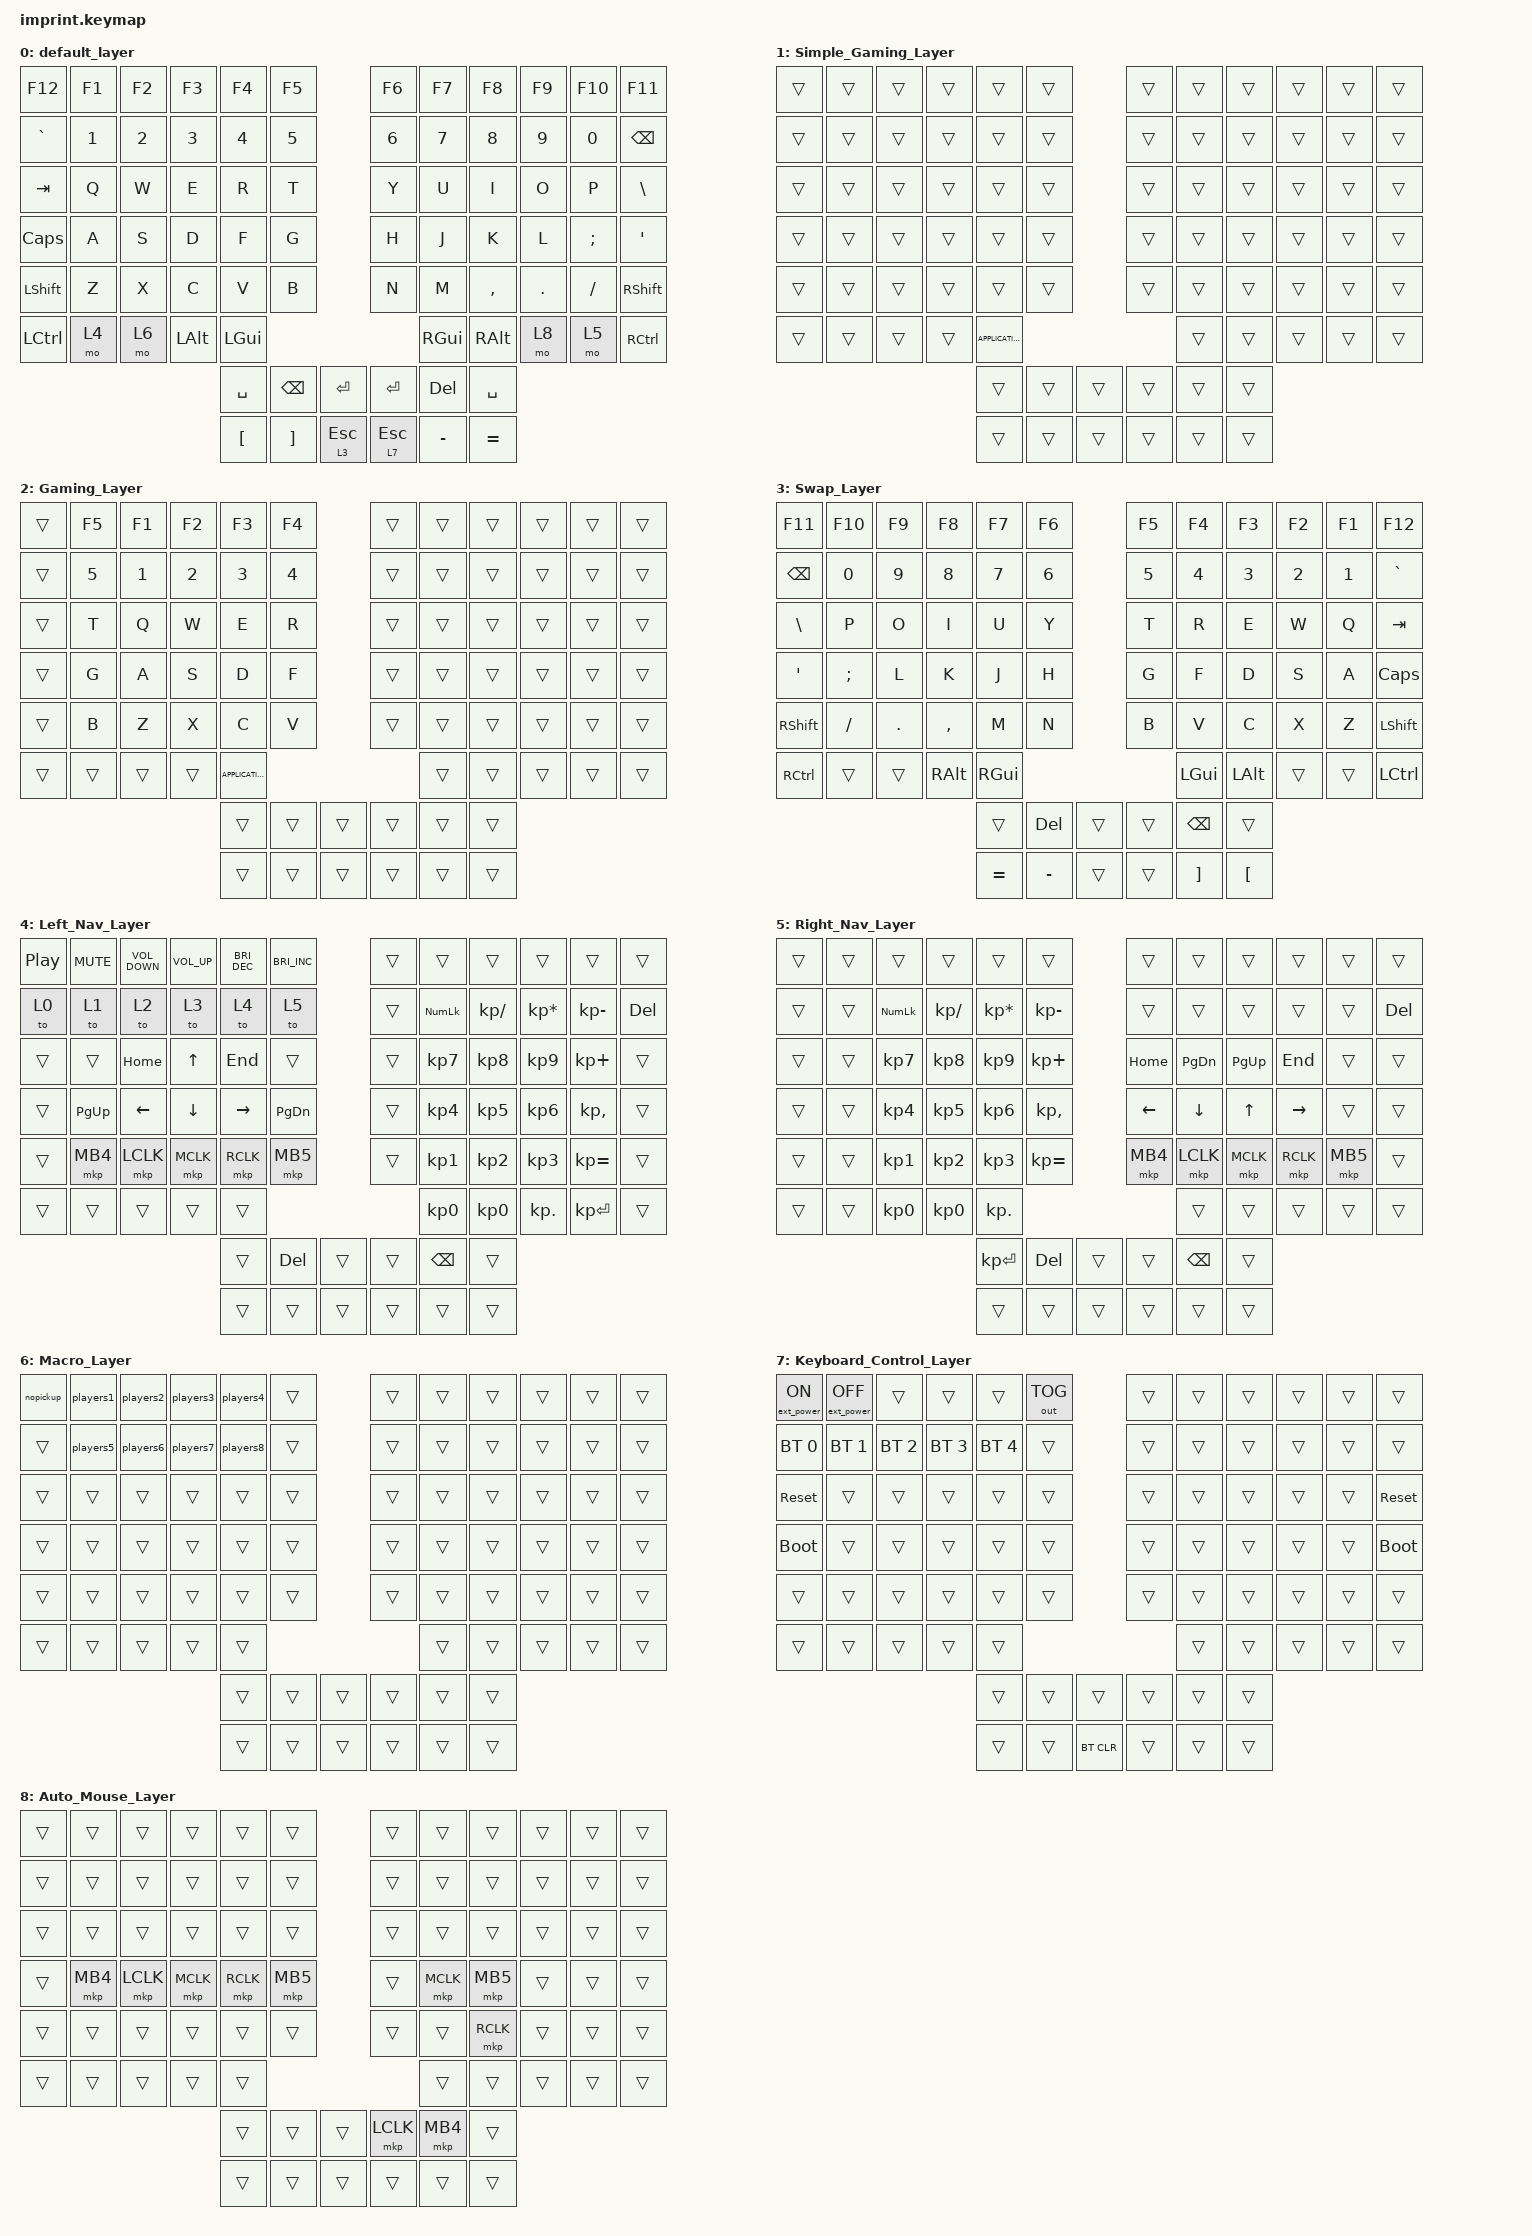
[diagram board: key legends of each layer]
#include <input/processors.dtsi>
#include <dt-bindings/zmk/input_transform.h>
#include <behaviors.dtsi>
#include <dt-bindings/zmk/bt.h>
#include <dt-bindings/zmk/ext_power.h>
#include <dt-bindings/zmk/keys.h>
#include <dt-bindings/zmk/outputs.h>
#include <dt-bindings/zmk/pointing.h>

/ {
    chosen { zmk,physical-layout = &physical_layout_imprint_function_row_full_bottom_row; };

    macros {
        players: players {
            compatible = "zmk,behavior-macro";
            #binding-cells = <0>;
            bindings =
                <&kp ENTER>,
                <&macro_wait_time 5>,
                <&kp FSLH &kp P &kp L &kp A &kp Y &kp E &kp R &kp S>;

            label = "PLAYERS";
            tap-ms = <10>;
        };

        players1: players1 {
            compatible = "zmk,behavior-macro";
            #binding-cells = <0>;
            bindings = <&players &kp N1 &kp ENTER>;
            label = "PLAYERS1";
            wait-ms = <100>;
            tap-ms = <100>;
        };

        players2: players2 {
            compatible = "zmk,behavior-macro";
            #binding-cells = <0>;
            bindings = <&players &kp N2 &kp ENTER>;
            label = "PLAYERS2";
            wait-ms = <100>;
            tap-ms = <100>;
        };

        players3: players3 {
            compatible = "zmk,behavior-macro";
            #binding-cells = <0>;
            bindings = <&players &kp N3 &kp ENTER>;
            label = "PLAYERS3";
            wait-ms = <100>;
            tap-ms = <100>;
        };

        players4: players4 {
            compatible = "zmk,behavior-macro";
            #binding-cells = <0>;
            bindings = <&players &kp N4 &kp ENTER>;
            label = "PLAYERS4";
            wait-ms = <100>;
            tap-ms = <100>;
        };

        players5: players5 {
            compatible = "zmk,behavior-macro";
            #binding-cells = <0>;
            bindings = <&players &kp N5 &kp ENTER>;
            label = "PLAYERS5";
            wait-ms = <100>;
            tap-ms = <100>;
        };

        players6: players6 {
            compatible = "zmk,behavior-macro";
            #binding-cells = <0>;
            bindings = <&players &kp N6 &kp ENTER>;
            label = "PLAYERS6";
            wait-ms = <100>;
            tap-ms = <100>;
        };

        players7: players7 {
            compatible = "zmk,behavior-macro";
            #binding-cells = <0>;
            bindings = <&players &kp N7 &kp ENTER>;
            label = "PLAYERS7";
            wait-ms = <100>;
            tap-ms = <100>;
        };

        players8: players8 {
            compatible = "zmk,behavior-macro";
            #binding-cells = <0>;
            bindings = <&players &kp N8 &kp ENTER>;
            label = "PLAYERS8";
            wait-ms = <100>;
            tap-ms = <100>;
        };

        nopickup: nopickup {
            compatible = "zmk,behavior-macro";
            #binding-cells = <0>;
            bindings =
                <&kp ENTER>,
                <&macro_wait_time 5>,
                <&kp FSLH &kp N &kp O &kp P &kp I &kp C &kp K &kp U>,
                <&macro_wait_time 100>,
                <&macro_tap_time 100>,
                <&kp P &kp ENTER>;

            label = "NOPICKUP";
            tap-ms = <10>;
        };
    };

    keymap {
        compatible = "zmk,keymap";

        default_layer {
            bindings = <
&kp F12    &kp F1  &kp F2  &kp F3    &kp F4     &kp F5                 &kp F6     &kp F7     &kp F8     &kp F9   &kp F10   &kp F11
&kp GRAVE  &kp N1  &kp N2  &kp N3    &kp N4     &kp N5                 &kp N6     &kp N7     &kp N8     &kp N9   &kp N0    &kp BSPC
&kp TAB    &kp Q   &kp W   &kp E     &kp R      &kp T                  &kp Y      &kp U      &kp I      &kp O    &kp P     &kp BSLH
&kp CAPS   &kp A   &kp S   &kp D     &kp F      &kp G                  &kp H      &kp J      &kp K      &kp L    &kp SEMI  &kp SQT
&kp LSHFT  &kp Z   &kp X   &kp C     &kp V      &kp B                  &kp N      &kp M      &kp COMMA  &kp DOT  &kp FSLH  &kp RSHFT
&kp LCTRL  &mo 4   &mo 6   &kp LALT  &kp LGUI                                     &kp RGUI   &kp RALT   &mo 8    &mo 5     &kp RCTRL
                                     &kp SPACE  &kp BSPC  &kp ENTER    &kp ENTER  &kp DEL    &kp SPACE
                                     &kp LBKT   &kp RBKT  &lt 3 ESC    &lt 7 ESC  &kp MINUS  &kp EQUAL
            >;
        };

        Simple_Gaming_Layer {
            bindings = <
&trans  &trans  &trans  &trans  &trans             &trans            &trans  &trans  &trans  &trans  &trans  &trans
&trans  &trans  &trans  &trans  &trans             &trans            &trans  &trans  &trans  &trans  &trans  &trans
&trans  &trans  &trans  &trans  &trans             &trans            &trans  &trans  &trans  &trans  &trans  &trans
&trans  &trans  &trans  &trans  &trans             &trans            &trans  &trans  &trans  &trans  &trans  &trans
&trans  &trans  &trans  &trans  &trans             &trans            &trans  &trans  &trans  &trans  &trans  &trans
&trans  &trans  &trans  &trans  &kp K_APPLICATION                            &trans  &trans  &trans  &trans  &trans
                                &trans             &trans  &trans    &trans  &trans  &trans
                                &trans             &trans  &trans    &trans  &trans  &trans
            >;
        };

        Gaming_Layer {
            bindings = <
&trans  &kp F5  &kp F1  &kp F2  &kp F3             &kp F4            &trans  &trans  &trans  &trans  &trans  &trans
&trans  &kp N5  &kp N1  &kp N2  &kp N3             &kp N4            &trans  &trans  &trans  &trans  &trans  &trans
&trans  &kp T   &kp Q   &kp W   &kp E              &kp R             &trans  &trans  &trans  &trans  &trans  &trans
&trans  &kp G   &kp A   &kp S   &kp D              &kp F             &trans  &trans  &trans  &trans  &trans  &trans
&trans  &kp B   &kp Z   &kp X   &kp C              &kp V             &trans  &trans  &trans  &trans  &trans  &trans
&trans  &trans  &trans  &trans  &kp K_APPLICATION                            &trans  &trans  &trans  &trans  &trans
                                &trans             &trans  &trans    &trans  &trans  &trans
                                &trans             &trans  &trans    &trans  &trans  &trans
            >;
        };

        Swap_Layer {
            bindings = <
&kp F11    &kp F10   &kp F9   &kp F8     &kp F7     &kp F6               &kp F5  &kp F4    &kp F3    &kp F2  &kp F1  &kp F12
&kp BSPC   &kp N0    &kp N9   &kp N8     &kp N7     &kp N6               &kp N5  &kp N4    &kp N3    &kp N2  &kp N1  &kp GRAVE
&kp BSLH   &kp P     &kp O    &kp I      &kp U      &kp Y                &kp T   &kp R     &kp E     &kp W   &kp Q   &kp TAB
&kp APOS   &kp SEMI  &kp L    &kp K      &kp J      &kp H                &kp G   &kp F     &kp D     &kp S   &kp A   &kp CAPS
&kp RSHFT  &kp FSLH  &kp DOT  &kp COMMA  &kp M      &kp N                &kp B   &kp V     &kp C     &kp X   &kp Z   &kp LSHFT
&kp RCTRL  &trans    &trans   &kp RALT   &kp RGUI                                &kp LGUI  &kp LALT  &trans  &trans  &kp LCTRL
                                         &trans     &kp DEL    &trans    &trans  &kp BSPC  &trans
                                         &kp EQUAL  &kp MINUS  &trans    &trans  &kp RBKT  &kp LBKT
            >;
        };

        Left_Nav_Layer {
            bindings = <
&kp C_PLAY_PAUSE  &kp C_MUTE   &kp C_VOLUME_DOWN  &kp C_VOLUME_UP  &kp C_BRIGHTNESS_DEC  &kp C_BRIGHTNESS_INC            &trans  &trans           &trans           &trans           &trans        &trans
&to 0             &to 1        &to 2              &to 3            &to 4                 &to 5                           &trans  &kp KP_NUMLOCK   &kp KP_DIVIDE    &kp KP_MULTIPLY  &kp KP_MINUS  &kp DEL
&trans            &trans       &kp HOME           &kp UP           &kp END               &trans                          &trans  &kp KP_NUMBER_7  &kp KP_NUMBER_8  &kp KP_NUMBER_9  &kp KP_PLUS   &trans
&trans            &kp PAGE_UP  &kp LEFT           &kp DOWN         &kp RIGHT             &kp PAGE_DOWN                   &trans  &kp KP_NUMBER_4  &kp KP_NUMBER_5  &kp KP_NUMBER_6  &kp KP_COMMA  &trans
&trans            &mkp MB4     &mkp LCLK          &mkp MCLK        &mkp RCLK             &mkp MB5                        &trans  &kp KP_NUMBER_1  &kp KP_NUMBER_2  &kp KP_NUMBER_3  &kp KP_EQUAL  &trans
&trans            &trans       &trans             &trans           &trans                                                        &kp KP_NUMBER_0  &kp KP_NUMBER_0  &kp KP_DOT       &kp KP_ENTER  &trans
                                                                   &trans                &kp DEL               &trans    &trans  &kp BSPC         &trans
                                                                   &trans                &trans                &trans    &trans  &trans           &trans
            >;
        };

        Right_Nav_Layer {
            bindings = <
&trans  &trans  &trans           &trans           &trans           &trans                  &trans    &trans         &trans       &trans     &trans    &trans
&trans  &trans  &kp KP_NUMLOCK   &kp KP_DIVIDE    &kp KP_MULTIPLY  &kp KP_MINUS            &trans    &trans         &trans       &trans     &trans    &kp DEL
&trans  &trans  &kp KP_NUMBER_7  &kp KP_NUMBER_8  &kp KP_NUMBER_9  &kp KP_PLUS             &kp HOME  &kp PAGE_DOWN  &kp PAGE_UP  &kp END    &trans    &trans
&trans  &trans  &kp KP_NUMBER_4  &kp KP_NUMBER_5  &kp KP_NUMBER_6  &kp KP_COMMA            &kp LEFT  &kp DOWN       &kp UP       &kp RIGHT  &trans    &trans
&trans  &trans  &kp KP_NUMBER_1  &kp KP_NUMBER_2  &kp KP_NUMBER_3  &kp KP_EQUAL            &mkp MB4  &mkp LCLK      &mkp MCLK    &mkp RCLK  &mkp MB5  &trans
&trans  &trans  &kp KP_NUMBER_0  &kp KP_NUMBER_0  &kp KP_DOT                                         &trans         &trans       &trans     &trans    &trans
                                                  &kp KP_ENTER     &kp DEL       &trans    &trans    &kp BSPC       &trans
                                                  &trans           &trans        &trans    &trans    &trans         &trans
            >;
        };

        Macro_Layer {
            bindings = <
&nopickup  &players1  &players2  &players3  &players4  &trans            &trans  &trans  &trans  &trans  &trans  &trans
&trans     &players5  &players6  &players7  &players8  &trans            &trans  &trans  &trans  &trans  &trans  &trans
&trans     &trans     &trans     &trans     &trans     &trans            &trans  &trans  &trans  &trans  &trans  &trans
&trans     &trans     &trans     &trans     &trans     &trans            &trans  &trans  &trans  &trans  &trans  &trans
&trans     &trans     &trans     &trans     &trans     &trans            &trans  &trans  &trans  &trans  &trans  &trans
&trans     &trans     &trans     &trans     &trans                               &trans  &trans  &trans  &trans  &trans
                                            &trans     &trans  &trans    &trans  &trans  &trans
                                            &trans     &trans  &trans    &trans  &trans  &trans
            >;
        };

        Keyboard_Control_Layer {
            bindings = <
&ext_power EP_ON  &ext_power EP_OFF  &trans        &trans        &trans        &out OUT_TOG                &trans  &trans  &trans  &trans  &trans  &trans
&bt BT_SEL 0      &bt BT_SEL 1       &bt BT_SEL 2  &bt BT_SEL 3  &bt BT_SEL 4  &trans                      &trans  &trans  &trans  &trans  &trans  &trans
&sys_reset        &trans             &trans        &trans        &trans        &trans                      &trans  &trans  &trans  &trans  &trans  &sys_reset
&bootloader       &trans             &trans        &trans        &trans        &trans                      &trans  &trans  &trans  &trans  &trans  &bootloader
&trans            &trans             &trans        &trans        &trans        &trans                      &trans  &trans  &trans  &trans  &trans  &trans
&trans            &trans             &trans        &trans        &trans                                            &trans  &trans  &trans  &trans  &trans
                                                                 &trans        &trans        &trans        &trans  &trans  &trans
                                                                 &trans        &trans        &bt BT_CLR    &trans  &trans  &trans
            >;
        };

        Auto_Mouse_Layer {
            bindings = <
&trans  &trans    &trans     &trans     &trans     &trans              &trans     &trans     &trans     &trans  &trans  &trans
&trans  &trans    &trans     &trans     &trans     &trans              &trans     &trans     &trans     &trans  &trans  &trans
&trans  &trans    &trans     &trans     &trans     &trans              &trans     &trans     &trans     &trans  &trans  &trans
&trans  &mkp MB4  &mkp LCLK  &mkp MCLK  &mkp RCLK  &mkp MB5            &trans     &mkp MCLK  &mkp MB5   &trans  &trans  &trans
&trans  &trans    &trans     &trans     &trans     &trans              &trans     &trans     &mkp RCLK  &trans  &trans  &trans
&trans  &trans    &trans     &trans     &trans                                    &trans     &trans     &trans  &trans  &trans
                                        &trans     &trans    &trans    &mkp LCLK  &mkp MB4   &trans
                                        &trans     &trans    &trans    &trans     &trans     &trans
            >;
        };
    };
};

//right hand trackball configuration

&trackball_peripheral_listener {
    input-processors = <&zip_xy_scaler 4 1>;

    // this gets it to the default installation orientation
    // <&zip_xy_transform INPUT_TRANSFORM_XY_SWAP>;
    // activate layer 3 within 500ms of the trackball moving
    // <&zip_temp_layer 8 1000>;
};

//left hand trackball configuration

&trackball_central_listener {
    input-processors =
        // this gets it to the default installation orientation,,
        // <&zip_xy_transform INPUT_TRANSFORM_XY_SWAP>,,
        // multiply sensitivity by 1, divide by 3 (make it slower for scrolling),,
        <&zip_xy_scaler 1 8>,
        <&zip_x_scaler 1 8>,
        <&zip_y_scaler 1 8>,
        <&zip_scroll_scaler 1 16>,
        // make this trackball output scrolling events by default instead of cursor movement,,
        <&zip_xy_to_scroll_mapper>,
        // invert vertical scrolling so that the view moves in the same direction as the top of the trackball.,,
        <&zip_scroll_transform INPUT_TRANSFORM_Y_INVERT>;
};
